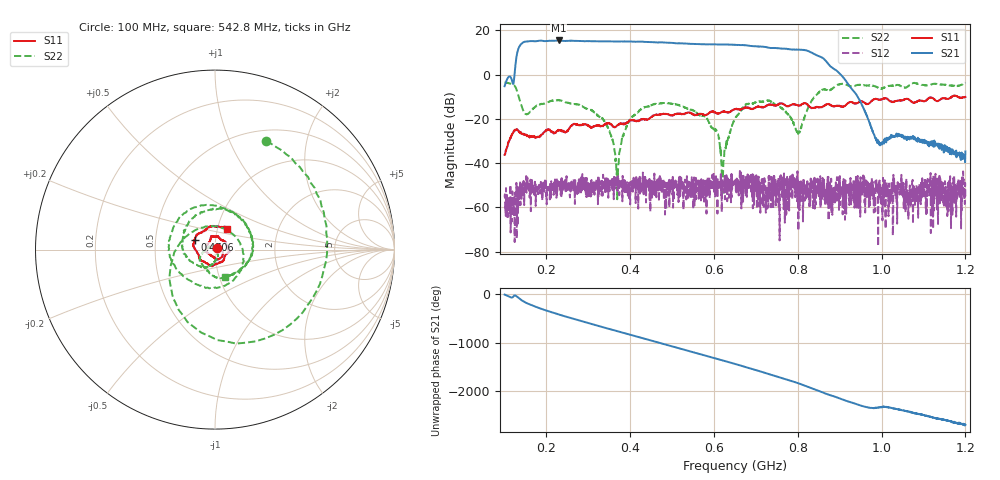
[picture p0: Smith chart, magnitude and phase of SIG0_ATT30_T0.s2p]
# Hz S DB R 50
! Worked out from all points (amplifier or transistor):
!   1601 points, 100 MHz to 1.2 GHz, reference 50 ohm
!   highest |S21| = 15.5 dB at 229.2 MHz (marker M1)
!   |S21| within 3 dB of that: 134.5 MHz to 724.4 MHz (589.9 MHz wide, 137 % of centre)
!   unconditionally stable (mu >= 1): start of sweep to end of sweep
!   at 282.9 MHz: K = 19.95, MAG = 15.4 dB, |S12| = -47.7 dB
!   at 650 MHz: K = 26.98, MAG = 13.6 dB, |S12| = -48.4 dB
!   at 1.2 GHz: K = 8146.52, MAG = -31.8 dB, |S12| = -55.4 dB
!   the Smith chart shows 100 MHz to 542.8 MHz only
!   S11 on the Smith chart (normalised r, x): 100 MHz: 1.03, +0.02; 470.6 MHz: 0.79, +0.09; 542.8 MHz: 1.11, +0.27
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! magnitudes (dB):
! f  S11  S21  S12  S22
! 100 MHz  -36.3  -5.2  -55.4  -3.5
! 119.9 MHz  -26.3  -4.1  -61.9  -4.4
! 141.9 MHz  -26.7  14.3  -52.2  -14.9
! 229.2 MHz  -25.1  15.5  -49.3  -11.5
! 283.6 MHz  -22.8  15.2  -52.6  -14.0
! 339.9 MHz  -22.2  15.1  -46.8  -21.4
! 368.8 MHz  -22.9  15.0  -48.2  -56.3
! 399.8 MHz  -20.7  15.0  -58.6  -20.5
! 467.1 MHz  -18.2  14.6  -52.3  -13.0
! 470.6 MHz  -18.0  14.6  -45.9  -13.0
! 542.8 MHz  -17.3  14.0  -54.1  -15.7
! 605.3 MHz  -17.4  13.7  -48.2  -25.0
! 619.8 MHz  -16.7  13.6  -52.5  -53.9
! 650 MHz  -15.5  13.5  -48.4  -19.9
! 730.4 MHz  -13.4  12.2  -45.9  -11.8
! 785.4 MHz  -13.6  11.4  -45.7  -20.1
! 801.2 MHz  -13.9  11.3  -70.5  -26.1
! 833.6 MHz  -15.1  9.9  -52.0  -11.6
! 937.4 MHz  -13.0  -8.4  -52.8  -5.0
! 992.4 MHz  -11.3  -31.0  -50.5  -6.0
! 1.017 GHz  -11.5  -28.8  -51.4  -5.0
! 1.2 GHz  -10.1  -34.7  -55.4  -3.6
